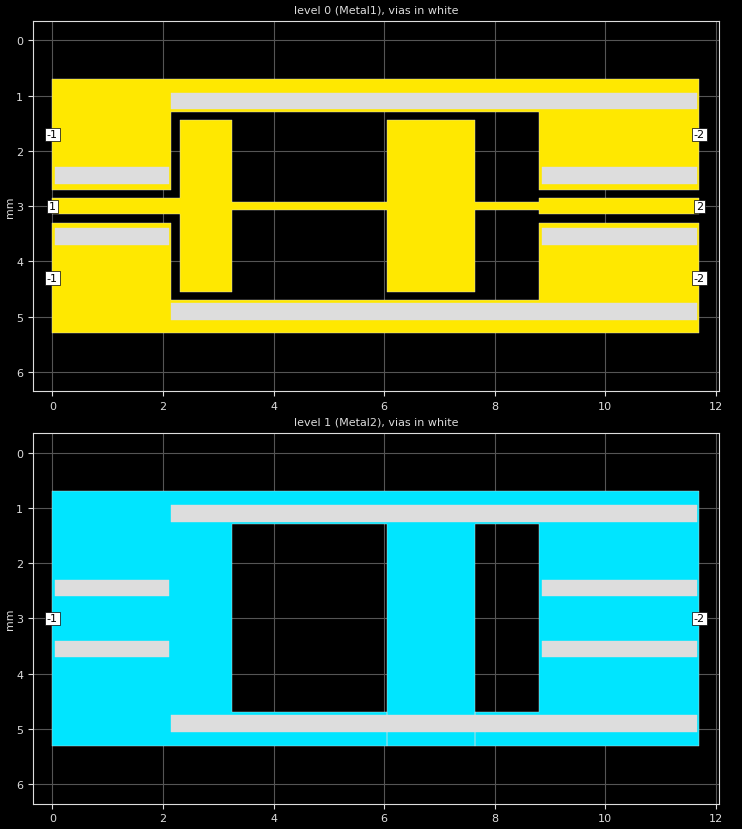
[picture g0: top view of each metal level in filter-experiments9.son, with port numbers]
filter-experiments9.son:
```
FTYP SONPROJ 18 ! Sonnet Project File
VER 17.56
HEADER
LIC antikernel2.1.50170 3cfdfeabd719 havequick azonenberg Level3Gold
DAT 02/28/2021 02:41:49
BUILT_BY_CREATED dxf 17.52.2 05/01/2020 05:35:06
BUILT_BY_SAVED sonnet 17.56
MDATE 02/28/2021 02:41:49
HDATE 02/28/2021 02:41:49
ANN Created by dxfgeo, Sonnet Software Inc.
END HEADER
DIM
ANG DEG
CAP PF
CON /OH
FREQ GHZ
IND NH
LNG MM
RES OH
END DIM
CONTROL
VARSWP
OPTIONS  -dj
SPEED 0
CACHE_ABS 1
Q_ACC N
END CONTROL
GEO
SYM
TMET "Free Space" 0 FREESPACE 376.7303136 0 0 0
BMET "Free Space" 0 FREESPACE 376.7303136 0 0 0
MET "Unknown_metal" 1 NOR INF 0.5 0 
MET "Copper 1oz thick" 2 TMM 58000000 0.5 0.035 2
MET "Nickel " 3 TMM 14300000 0.5 0.035 2
MET "Copper 0.5oz" 1 NOR 58000000 0.5 0.0175 
MET "Unknown_metal" 1 VOL INF 0
BRI "Alumina (96%)" 0 9.4 0.0004 0 
BRI "Alumina (99.5%)" 0 9.9 0.0001 0 
BRI "Aluminum Nitride" 0 8.6 0.0003 0 
BRI "Arlon 25FR" 0 3.58 0.0035 0 
BRI "Arlon 25N" 0 3.38 0.0025 0 
BRI "Arlon AD5" 0 5.1 0.003 0 
BRI "Arlon AD10" 0 10.2 0.005 0 
BRI "Arlon AD250" 0 2.5 0.0018 0 
BRI "Arlon AD255A" 0 2.55 0.0015 0 
BRI "Arlon AD260A" 0 2.6 0.0018 0 
BRI "Arlon AD270" 0 2.7 0.0023 0 
BRI "Arlon AD300A" 0 3 0.002 0 
BRI "Arlon AD320A" 0 3.2 0.0032 0 
BRI "Arlon AD350A" 0 3.5 0.003 0 
BRI "Arlon AD410" 0 4.1 0.003 0 
BRI "Arlon AD430" 0 4.3 0.003 0 
BRI "Arlon AD450" 0 4.5 0.0035 0 
BRI "Arlon AD600" 0 6.15 0.003 0 
BRI "Arlon AD1000" 0 10.2 0.0023 0 
BRI "Arlon AR1000" 0 9.8 0.003 0 
BRI "Arlon CLTE" 0 2.96 0.0023 0 
BRI "Arlon CLTE-AT" 0 3 0.0013 0 
BRI "Arlon CLTE-P" 0 2.94 0.0025 0 
BRI "Arlon CLTE-XT" 0 2.94 0.0012 0 
BRI "Arlon Cu 217LX" 0 2.17 0.0009 0 
BRI "Arlon Cu 233LX" 0 2.33 0.0013 0 
BRI "Arlon Cu 250GT" 0 2.5 0.001 0 
BRI "Arlon Cu 250GX" 0 2.5 0.0018 0 
BRI "Arlon Cu 6250" 0 2.32 0.0013 0 
BRI "Arlon Cu 6700" 0 2.35 0.0025 0 
BRI "Arlon Di 522" 0 2.5 0.001 0 
BRI "Arlon Di 527" 0 2.5 0.0018 0 
BRI "Arlon Di 870" 0 2.33 0.0013 0 
BRI "Arlon Di 880" 0 2.17 0.0009 0 
BRI "Arlon Iso 917" 0 2.17 0.0013 0 
BRI "Arlon Iso 933" 0 2.33 0.0016 0 
BRI "Arlon Multi HF" 0 3.7 0.004 0 
BRI "Arlon TC350" 0 3.5 0.002 0 
BRI "Arlon TC600" 0 6.15 0.002 0 
BRI "Beryllia (99.5%)" 0 6.5 0.0004 0 
BRI "CEM-1" 0 4.5 0.02 0 
BRI "CEM-3" 0 4.5 0.02 0 
BRI "Dupont 9K7" 0 7.1 0.0012 0 
BRI "Dupont 943" 0 7.4 0.002 0 
BRI "Dupont 951" 0 7.8 0.006 0 
BRI "Dupont FEP" 0 2 0.0005 0 
BRI "Dupont Vacrel" 0 3.8 0.011 0 
BRI "ESL 41010" 0 7.5 0.005 0 
BRI "ESL 41020" 0 7.25 0.005 0 
BRI "ESL 41050" 0 13.5 0.002 0 
BRI "ESL 41060" 0 16.5 0.002 0 
BRI "ESL 41110" 0 4.5 0.004 0 
BRI "Ferro A6M" 0 5.9 0.002 0 
BRI "Ferro A6S" 0 5.9 0.002 0 
BRI "Ferro L8" 0 7.3 0.0018 0 
BRI "FR-4" 0 4.4 0.02 0 
BRI "G-10" 0 4.8 0.025 0 
BRI "Gallium Arsenide" 0 12.9 0.006 0 
BRI "Gallium Nitride" 0 9.7 0 0 
BRI "Glass (Pyrex)" 0 4.82 0.0054 0 
BRI "Heraeus HL2000" 0 7.3 0.0026 0 
BRI "Isola 370HR" 0 4.04 0.021 0 
BRI "Isola FR408" 0 3.77 0.0116 0 
BRI "Isola FR408HR" 0 3.68 0.0092 0 
BRI "Isola Getek" 0 3.6 0.01 0 
BRI "Isola GI-180" 0 3.7 0.013 0 
BRI "Isola IS415" 0 3.82 0.0125 0 
BRI "Isola IS620i" 0 3.58 0.006 0 
BRI "Isola IS680-280" 0 2.8 0.0025 0 
BRI "Isola IS680-300" 0 3 0.003 0 
BRI "Isola IS680-320" 0 3.2 0.003 0 
BRI "Isola IS680-333" 0 3.33 0.003 0 
BRI "Isola IS680-338" 0 3.38 0.0032 0 
BRI "Isola IS680-345" 0 3.45 0.0036 0 
BRI "Kerafol CT800" 0 5.3 0.008 0 
BRI "Nelco MW9350" 0 3.7 0.004 0 
BRI "Nelco N4000-12" 0 3.7 0.008 0 
BRI "Nelco N4000-13" 0 3.7 0.009 0 
BRI "Nelco N4000-13SI" 0 3.2 0.007 0 
BRI "Nelco N4000-13EP" 0 3.7 0.008 0 
BRI "Nelco N4350-13RF" 0 3.5 0.0065 0 
BRI "Nelco N4380-13RF" 0 3.8 0.007 0 
BRI "Nelco N9300-13RF" 0 3 0.004 0 
BRI "Nelco N9320-13RF" 0 3.2 0.0045 0 
BRI "Nelco N9338-13RF" 0 3.38 0.0046 0 
BRI "Nelco N9350-13RF" 0 3.48 0.0055 0 
BRI "Nelco NH9294" 0 2.94 0.0022 0 
BRI "Nelco NH9300" 0 3 0.0023 0 
BRI "Nelco NH9320" 0 3.2 0.0024 0 
BRI "Nelco NH9338" 0 3.38 0.0025 0 
BRI "Nelco NH9348" 0 3.48 0.003 0 
BRI "Nelco NH9350" 0 3.5 0.003 0 
BRI "Nelco NH9410" 0 4.1 0.003 0 
BRI "Nelco NH9450" 0 4.5 0.003 0 
BRI "Nelco NX9240" 0 2.4 0.0016 0 
BRI "Nelco NX9245" 0 2.45 0.0016 0 
BRI "Nelco NX9250" 0 2.5 0.0017 0 
BRI "Nelco NX9255" 0 2.55 0.0018 0 
BRI "Nelco NX9260" 0 2.6 0.0019 0 
BRI "Nelco NY9208" 0 2.08 0.0006 0 
BRI "Nelco NY9217" 0 2.17 0.0008 0 
BRI "Nelco NY9220" 0 2.2 0.0009 0 
BRI "Nelco NY9233" 0 2.33 0.0011 0 
BRI "PET" 0 3.37 0.0208 0 
BRI "Polyimide" 0 3.5 0.003 0 
BRI "Quartz (Fused)" 0 3.78 0.0001 0 
BRI "Rogers 3001" 0 2.28 0.003 0 
BRI "Rogers RO2808" 0 7.6 0.0015 0 
BRI "Rogers RO3003" 0 3 0.0013 0 
BRI "Rogers RO3006" 0 6.5 0.002 0 
BRI "Rogers RO3010" 0 11.2 0.0022 0 
BRI "Rogers RO3035" 0 3.6 0.0018 0 
BRI "Rogers RO3203" 0 3.02 0.0016 0 
BRI "Rogers RO3206" 0 6.6 0.0027 0 
BRI "Rogers RO3210" 0 10.8 0.0027 0 
BRI "Rogers RO3730" 0 3 0.0016 0 
BRI "Rogers RO4003C" 0 3.55 0.0029 0 
BRI "Rogers RO4533" 0 3.45 0.0029 0 
BRI "Rogers RO4534" 0 3.4 0.003 0 
BRI "Rogers RO4350B" 0 3.66 0.0037 0 
BRI "Rogers RO4350BTX" 0 3.66 0.0034 0 
BRI "Rogers RO4360" 0 6.15 0.0038 0 
BRI "Rogers RO4450B-3.6" 0 3.3 0.0043 0 
BRI "Rogers RO4450B-4" 0 3.54 0.004 0 
BRI "Rogers RO4450F" 0 3.52 0.0041 0 
BRI "Rogers RO4730" 0 3 0.0033 0 
BRI "Rogers RT5870" 0 2.33 0.0012 0 
BRI "Rogers RT5880" 0 2.2 0.0009 0 
BRI "Rogers RT5880LZ" 0 1.96 0.0019 0 
BRI "Rogers RT6002" 0 2.94 0.0012 0 
BRI "Rogers RT6006" 0 6.15 0.0027 0 
BRI "Rogers RT6010LM" 0 10.9 0.0023 0 
BRI "Rogers RT6035HTC" 0 3.6 0.0013 0 
BRI "Rogers RT6202" 0 2.94 0.0015 0 
BRI "Rogers RT6202PR" 0 2.95 0.0015 0 
BRI "Rogers Syron7000" 0 3.4 0.0045 0 
BRI "Rogers Syron7100-2" 0 3.61 0.006 0 
BRI "Rogers Syron7100-4" 0 3.39 0.005 0 
BRI "Rogers Theta" 0 4.01 0.0118 0 
BRI "Rogers TMM 3" 0 3.39 0.002 0 
BRI "Rogers TMM 4" 0 4.5 0.002 0 
BRI "Rogers TMM 6" 0 6 0.0023 0 
BRI "Rogers TMM 10" 0 9.56 0.0022 0 
BRI "Rogers TMM 10i" 0 9.96 0.002 0 
BRI "Rogers UL2000" 0 2.5 0.0019 0 
BRI "Rogers UL3850" 0 3.05 0.0025 0 
BRI "Rogers UL3908" 0 2.9 0.0025 0 
BRI "Rogers XT8000" 0 3.34 0.0035 0 
BRI "Rogers XT8100-2" 0 3.54 0.0049 0 
BRI "Rogers XT8100-4" 0 3.32 0.0038 0 
BRI "Silicon (intrinsic)" 0 11.9 0.004 0.00044 
BRI "Silicon Dioxide" 0 3.9 0 0 
BRI "Silicon Nitride" 0 7.5 0 0 
BRI "Taconic CER-10" 0 10 0.0035 0 
BRI "Taconic FastFilm" 0 2.7 0.0012 0 
BRI "Taconic Fastrise-DS" 0 2.96 0.0018 0 
BRI "Taconic Fastrise27" 0 2.7 0.0014 0 
BRI "Taconic Fastrise77" 0 7.7 0.0034 0 
BRI "Taconic FEP" 0 2 0.0003 0 
BRI "Taconic RF-30" 0 3 0.0014 0 
BRI "Taconic RF-35" 0 3.5 0.0018 0 
BRI "Taconic RF-35A2" 0 3.5 0.0011 0 
BRI "Taconic RF-35P" 0 3.5 0.0025 0 
BRI "Taconic RF-41" 0 4.1 0.0038 0 
BRI "Taconic RF-43" 0 4.3 0.0033 0 
BRI "Taconic RF-45" 0 4.5 0.0037 0 
BRI "Taconic RF-60A" 0 6.15 0.0038 0 
BRI "Taconic RF-301" 0 2.97 0.0012 0 
BRI "Taconic TacBond HT" 0 2.35 0.0025 0 
BRI "Taconic TLA-6" 0 2.62 0.0012 0 
BRI "Taconic TLC-27" 0 2.75 0.003 0 
BRI "Taconic TLC-30" 0 3 0.003 0 
BRI "Taconic TLC-32" 0 3.2 0.003 0 
BRI "Taconic TLE-95" 0 2.95 0.0028 0 
BRI "Taconic TLF-34" 0 3.4 0.002 0 
BRI "Taconic TLF-35" 0 3.5 0.002 0 
BRI "Taconic TLP-3" 0 2.33 0.0009 0 
BRI "Taconic TLP-5" 0 2.2 0.0009 0 
BRI "Taconic TLP-5A" 0 2.17 0.0009 0 
BRI "Taconic TLT-0" 0 2.45 0.0006 0 
BRI "Taconic TLT-9" 0 2.5 0.0006 0 
BRI "Taconic TLT-8" 0 2.55 0.0006 0 
BRI "Taconic TLT-7" 0 2.6 0.0006 0 
BRI "Taconic TLT-6" 0 2.65 0.0006 0 
BRI "Taconic TLX-0" 0 2.45 0.0019 0 
BRI "Taconic TLX-9" 0 2.5 0.0019 0 
BRI "Taconic TLX-8" 0 2.55 0.0019 0 
BRI "Taconic TLX-7" 0 2.6 0.0019 0 
BRI "Taconic TLX-6" 0 2.65 0.0019 0 
BRI "Taconic TLY-3" 0 2.33 0.0009 0 
BRI "Taconic TLY-3F" 0 2.33 0.0009 0 
BRI "Taconic TLY-5" 0 2.2 0.0009 0 
BRI "Taconic TLY-5-L" 0 2.2 0.0009 0 
BRI "Taconic TLY-5A" 0 2.17 0.0009 0 
BRI "Taconic TLY-5A-L" 0 2.17 0.0009 0 
BRI "Taconic TPG-30" 0 3 0.0038 0 
BRI "Taconic TPG-32" 0 3.2 0.005 0 
BRI "Taconic TPG-35" 0 3.5 0.005 0 
BRI "Taconic TRF-41" 0 4.1 0.0035 0 
BRI "Taconic TRF-43" 0 4.3 0.0035 0 
BRI "Taconic TRF-45" 0 4.5 0.0035 0 
BRI "Taconic TSM-DS" 0 2.85 0.001 0 
BRI "Taconic TSM-DS3" 0 3 0.0011 0 
BRI "Taconic TSM-26" 0 2.6 0.0014 0 
BRI "Taconic TSM-29" 0 2.94 0.0013 0 
BRI "Taconic TSM-30" 0 3 0.0013 0 
BRI "Teflon (PTFE)" 0 2.08 0.0004 0 
BOX 2 11.7 6 468 480 20 0
      1 1 1 0 0 0 0 "Air"
      0.16 3.6 1 0.0092 0 0 0 "Isola FR408HR"
      1 1 1 0 0 0 0 "Air"
TECHLAY METAL Metal1 BLACK -2 0 
0 0 1 N 4063 1 1 100 100 0 0 0 Y
END
END
TECHLAY VIA Via1 <UNSPECIFIED> -4 0 
VIA POLYGON
1 0 -1 N 4098 1 1 100 100 0 0 0 Y
TOLEVEL 0 RING NOCOVERS
END
END
TECHLAY METAL Metal2 <UNSPECIFIED> -3 0 
1 0 3 N 4074 1 1 100 100 0 0 0 Y
END
END
DIM STD YDIR 1
POS -0.1891602242 1.667511974
NOM 2
REF1 POLY 3837 1
5
REF2 POLY 3837 1
6
END
DIM STD XDIR 1
POS 1.715075759 -0.09965623998
NOM 1.6
REF1 POLY 3836 1
9
REF2 POLY 3836 1
8
END
DIM STD XDIR 1
POS 1.09093445 -0.1518079424
NOM 1.15
REF1 POLY 3836 1
7
REF2 POLY 3836 1
6
END
DIM STD YDIR -1
POS -0.5124382228 -0.1331794476
NOM 0.15
REF1 POLY 3836 1
21
REF2 POLY 3836 1
10
END
DIM STD XDIR 1
POS 2.184304209 -0.08785553469
NOM 2.8
REF1 POLY 3836 1
11
REF2 POLY 3836 1
10
END
DIM STD YDIR -1
POS -0.0982766238 -1.150372809
NOM 1.4
REF1 POLY 3836 1
18
REF2 POLY 3836 1
17
END
DIM STD XDIR 1
POS 3.638810976 -0.07368392596
NOM 0.95
REF1 POLY 3836 1
13
REF2 POLY 3836 1
12
END
DIM STD YDIR -1
POS -0.07178879085 -0.8861163852
NOM 1.4
REF1 POLY 3836 1
14
REF2 POLY 3836 1
13
END
DIM STD XDIR 1
POS 6.012688416 -0.9963705866
NOM 6.65
REF1 POLY 3835 1
4
REF2 POLY 3835 1
5
END
DIM STD YDIR -1
POS -0.2796281575 -1.618496979
NOM 2
REF1 POLY 3835 1
2
REF2 POLY 3835 1
1
END
DIM STD YDIR -1
POS -0.3132946313 -2.876270211
NOM 3.4
REF1 POLY 3837 1
2
REF2 POLY 3835 1
5
END
LORGN 0 6 U 
POR1 BOX
POLY 3835 1
1
-1 50 0 0 0 0 1.7 
POR1 BOX
POLY 3835 1
7
-2 50 0 0 0 11.7 1.7 
POR1 BOX
POLY 3836 1
15
1 50 0 0 0 0 3 
POR1 BOX
POLY 3836 1
3
2 50 0 0 0 11.7 3 
POR1 BOX
POLY 3837 1
7
-2 50 0 0 0 11.7 4.3 
POR1 BOX
POLY 3837 1
5
-1 50 0 0 0 0 4.3 
POR1 BOX
POLY 3842 1
3
-1 50 0 0 0 0 3 
POR1 BOX
POLY 3842 1
21
-2 50 0 0 0 11.7 3 
NUM 10
0 9 1 N 3835 1 1 100 100 0 0 0 Y
TLAYNAM Metal1 INH
11.7 0.7
0 0.7
0 2.7
2.15 2.7
2.15 1.3
8.8 1.3
8.8 2.7
11.7 2.7
11.7 0.7
END
0 25 1 N 3836 1 1 100 100 0 0 0 Y
TLAYNAM Metal1 INH
7.65 3.075
8.8 3.075
8.8 3.15
11.7 3.15
11.7 2.85
8.8 2.85
8.8 2.925
7.65 2.925
7.65 1.45
6.05 1.45
6.05 2.925
3.25 2.925
3.25 1.45
2.3 1.45
2.3 2.85
0 2.85
0 3.15
2.3 3.15
2.3 4.55
3.25 4.55
3.25 3.075
6.05 3.075
6.05 4.55
7.65 4.55
7.65 3.075
END
0 9 1 N 3837 1 1 100 100 0 0 0 Y
TLAYNAM Metal1 INH
11.7 3.3
8.8 3.3
8.8 4.7
2.15 4.7
2.15 3.3
0 3.3
0 5.3
11.7 5.3
11.7 3.3
END
VIA POLYGON
1 5 -1 N 3838 1 1 100 100 0 0 0 Y
TOLEVEL 0 RING NOCOVERS
TLAYNAM Via1 INH
11.65 0.95
2.15 0.95
2.15 1.25
11.65 1.25
11.65 0.95
END
VIA POLYGON
1 5 -1 N 3840 1 1 100 100 0 0 0 Y
TOLEVEL 0 RING NOCOVERS
TLAYNAM Via1 INH
11.65 4.75
2.15 4.75
2.15 5.05
11.65 5.05
11.65 4.75
END
VIA POLYGON
1 5 -1 N 3839 1 1 100 100 0 0 0 Y
TOLEVEL 0 RING NOCOVERS
TLAYNAM Via1 INH
11.65 3.4
8.85 3.4
8.85 3.7
11.65 3.7
11.65 3.4
END
VIA POLYGON
1 5 -1 N 3841 1 1 100 100 0 0 0 Y
TOLEVEL 0 RING NOCOVERS
TLAYNAM Via1 INH
11.65 2.3
8.85 2.3
8.85 2.6
11.65 2.6
11.65 2.3
END
VIA POLYGON
1 5 -1 N 3195 1 1 100 100 0 0 0 Y
TOLEVEL 0 RING NOCOVERS
TLAYNAM Via1 INH
2.1 3.4
0.05 3.4
0.05 3.7
2.1 3.7
2.1 3.4
END
VIA POLYGON
1 5 -1 N 3193 1 1 100 100 0 0 0 Y
TOLEVEL 0 RING NOCOVERS
TLAYNAM Via1 INH
2.1 2.3
0.05 2.3
0.05 2.6
2.1 2.6
2.1 2.3
END
1 23 3 N 3842 1 1 100 100 0 0 0 Y
TLAYNAM Metal2 INH
11.7 0.7
9.5 0.7
9.5 0.7
0 0.7
0 5.3
6.05 5.3
6.05 4.7
3.25 4.7
3.25 1.3
6.05 1.3
6.05 4.7
6.05 5.3
7.65 5.3
7.65 4.7
7.65 1.3
8.8 1.3
8.8 4.7
7.65 4.7
7.65 5.3
8.4 5.3
8.4 5.3
11.7 5.3
11.7 0.7
END
END GEO
OPT
MAX 100
END OPT
VARSWP
ENABLED Y
FREQ Y AY ABS_ENTRY 0.1 16.0 -1 300 
END
END VARSWP
3DOPTIONS
GLOBAL 1
ALL 3 1
END 3DOPTIONS
```
